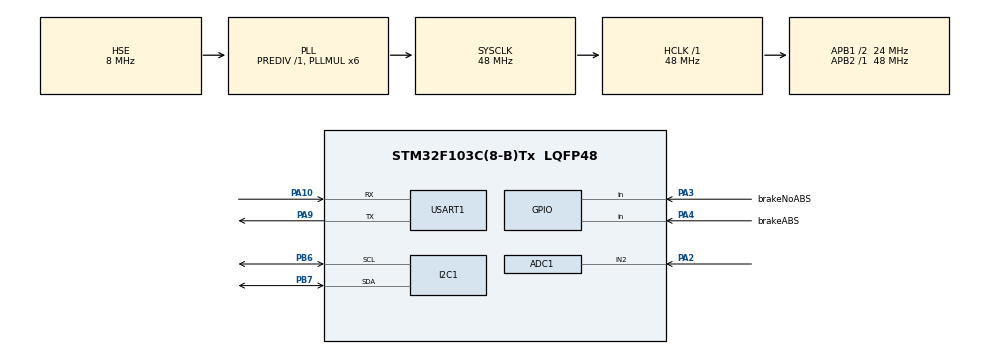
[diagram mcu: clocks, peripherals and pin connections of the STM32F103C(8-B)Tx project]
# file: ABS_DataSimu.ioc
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ADC1.Channel-0\#ChannelRegularConversion=ADC_CHANNEL_2
ADC1.NbrOfConversionFlag=1
ADC1.Rank-0\#ChannelRegularConversion=1
ADC1.SamplingTime-0\#ChannelRegularConversion=ADC_SAMPLETIME_1CYCLE_5
ADC1.master=1
Mcu.Family=STM32F1
Mcu.Name=STM32F103C(8-B)Tx
Mcu.Package=LQFP48
NVIC.PriorityGroup=NVIC_PRIORITYGROUP_4
NVIC.TIM1_UP_IRQn=true\:15\:0\:false\:false\:true\:false\:true\:true
NVIC.TimeBase=TIM1_UP_IRQn
NVIC.TimeBaseIP=TIM1
NVIC.USART1_IRQn=true\:0\:0\:false\:false\:true\:true\:true\:true
PA10.Mode=Asynchronous
PA10.Signal=USART1_RX
PA13.Mode=Serial_Wire
PA13.Signal=SYS_JTMS-SWDIO
PA14.Mode=Serial_Wire
PA14.Signal=SYS_JTCK-SWCLK
PA2.Signal=ADCx_IN2
PA3.GPIO_Label=brakeNoABS
PA3.Signal=GPIO_Input
PA4.GPIO_Label=brakeABS
PA4.Signal=GPIO_Input
PA9.Mode=Asynchronous
PA9.Signal=USART1_TX
PB6.Mode=I2C
PB6.Signal=I2C1_SCL
PB7.Mode=I2C
PB7.Signal=I2C1_SDA
PD0-OSC_IN.Mode=HSE-External-Oscillator
PD0-OSC_IN.Signal=RCC_OSC_IN
PD1-OSC_OUT.Mode=HSE-External-Oscillator
PD1-OSC_OUT.Signal=RCC_OSC_OUT
ProjectManager.HeapSize=0x200
ProjectManager.StackSize=0x400
ProjectManager.TargetToolchain=STM32CubeIDE
RCC.ADCPresc=RCC_ADCPCLK2_DIV4
RCC.AHBFreq_Value=48000000
RCC.APB1CLKDivider=RCC_HCLK_DIV2
RCC.APB1Freq_Value=24000000
RCC.APB1TimFreq_Value=48000000
RCC.APB2Freq_Value=48000000
RCC.APB2TimFreq_Value=48000000
RCC.HCLKFreq_Value=48000000
RCC.PLLMUL=RCC_PLL_MUL6
RCC.PLLSourceVirtual=RCC_PLLSOURCE_HSE
RCC.SYSCLKFreq_VALUE=48000000
RCC.SYSCLKSource=RCC_SYSCLKSOURCE_PLLCLK
RCC.USBFreq_Value=48000000
SH.ADCx_IN2.0=ADC1_IN2,IN2
USART1.VirtualMode=VM_ASYNC
VP_SYS_VS_tim1.Mode=TIM1
board=custom

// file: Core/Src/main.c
/* USER CODE BEGIN Header */
/**
 ******************************************************************************
 * @file           : main.c
 * @brief          : Main program body
 ******************************************************************************
 * @attention
 *
 * Copyright (c) 2023 STMicroelectronics.
 * All rights reserved.
 *
 * This software is licensed under terms that can be found in the LICENSE file
 * in the root directory of this software component.
 * If no LICENSE file comes with this software, it is provided AS-IS.
 *
 ******************************************************************************
 */
/* USER CODE END Header */
#include "main.h"

/* USER CODE BEGIN PD */
#define BRAKE_NO_ABS	255
#define BRAKE_ABS		0

/* USER CODE END PD */

ADC_HandleTypeDef hadc1;

I2C_HandleTypeDef hi2c1;

UART_HandleTypeDef huart1;

/* USER CODE BEGIN PV */
//char LCD_send[20];
/* USER CODE END PV */

void SystemClock_Config(void);
static void MX_GPIO_Init(void);
static void MX_USART1_UART_Init(void);
static void MX_ADC1_Init(void);
static void MX_I2C1_Init(void);

/* USER CODE BEGIN 0 */
uint16_t adcVal = 0;
uint8_t dutyCycle = 0; // assume dutyCycle as wheel speed

uint8_t isABSPress;
uint8_t isNoABSPress;

//void HAL_UART_TxCpltCallback(UART_HandleTypeDef *huart){
//
//}

/* USER CODE END 0 */

int main(void)
{

  /* MCU Configuration--------------------------------------------------------*/

  /* Reset of all peripherals, Initializes the Flash interface and the Systick. */
  HAL_Init();

  /* Configure the system clock */
  SystemClock_Config();

  /* Initialize all configured peripherals */
  MX_GPIO_Init();
  MX_USART1_UART_Init();
  MX_ADC1_Init();
  MX_I2C1_Init();
  /* USER CODE BEGIN 2 */

    	//CLCD_SetCursor(&LCD1, 0, 0);
    	//CLCD_WriteString(&LCD1, "Start ...");
  /* USER CODE END 2 */

  /* Infinite loop */
	while (1) {

    /* USER CODE BEGIN 3 */
		HAL_ADC_Start(&hadc1);
		HAL_ADC_PollForConversion(&hadc1, 100);
		adcVal = HAL_ADC_GetValue(&hadc1);
		HAL_ADC_Stop(&hadc1);

		dutyCycle = 100 * adcVal / 4095; // convert from 4095 (12 bit ADC resolution) to 0 - 100%
		// 100 because we set ARR = 100 (100-1 mean count from 0-> 99: 100 count value)

		/* Brake with ABS */
		isABSPress = HAL_GPIO_ReadPin(GPIOA, GPIO_PIN_4);
		isNoABSPress = HAL_GPIO_ReadPin(GPIOA, GPIO_PIN_3);

		if (isABSPress == 0){
			dutyCycle = BRAKE_ABS;

		}
		if (isNoABSPress == 0){
			dutyCycle = BRAKE_NO_ABS;
		}

		HAL_UART_Transmit(&huart1, &dutyCycle, 1, 2000);

	//		HAL_UART_Transmit_IT(&huart1, sendedData, 4);
	}
  /* USER CODE END 3 */
}

void SystemClock_Config(void)
{
  RCC_OscInitTypeDef RCC_OscInitStruct = {0};
  RCC_ClkInitTypeDef RCC_ClkInitStruct = {0};
  RCC_PeriphCLKInitTypeDef PeriphClkInit = {0};

  /** Initializes the RCC Oscillators according to the specified parameters
  * in the RCC_OscInitTypeDef structure.
  */
  RCC_OscInitStruct.OscillatorType = RCC_OSCILLATORTYPE_HSE;
  RCC_OscInitStruct.HSEState = RCC_HSE_ON;
  RCC_OscInitStruct.HSEPredivValue = RCC_HSE_PREDIV_DIV1;
  RCC_OscInitStruct.HSIState = RCC_HSI_ON;
  RCC_OscInitStruct.PLL.PLLState = RCC_PLL_ON;
  RCC_OscInitStruct.PLL.PLLSource = RCC_PLLSOURCE_HSE;
  RCC_OscInitStruct.PLL.PLLMUL = RCC_PLL_MUL6;
  if (HAL_RCC_OscConfig(&RCC_OscInitStruct) != HAL_OK)
  {
    Error_Handler();
  }

  /** Initializes the CPU, AHB and APB buses clocks
  */
  RCC_ClkInitStruct.ClockType = RCC_CLOCKTYPE_HCLK|RCC_CLOCKTYPE_SYSCLK
                              |RCC_CLOCKTYPE_PCLK1|RCC_CLOCKTYPE_PCLK2;
  RCC_ClkInitStruct.SYSCLKSource = RCC_SYSCLKSOURCE_PLLCLK;
  RCC_ClkInitStruct.AHBCLKDivider = RCC_SYSCLK_DIV1;
  RCC_ClkInitStruct.APB1CLKDivider = RCC_HCLK_DIV2;
  RCC_ClkInitStruct.APB2CLKDivider = RCC_HCLK_DIV1;

  if (HAL_RCC_ClockConfig(&RCC_ClkInitStruct, FLASH_LATENCY_1) != HAL_OK)
  {
    Error_Handler();
  }
  PeriphClkInit.PeriphClockSelection = RCC_PERIPHCLK_ADC;
  PeriphClkInit.AdcClockSelection = RCC_ADCPCLK2_DIV4;
  if (HAL_RCCEx_PeriphCLKConfig(&PeriphClkInit) != HAL_OK)
  {
    Error_Handler();
  }
}

static void MX_ADC1_Init(void)
{

  ADC_ChannelConfTypeDef sConfig = {0};

  /** Common config
  */
  hadc1.Instance = ADC1;
  hadc1.Init.ScanConvMode = ADC_SCAN_DISABLE;
  hadc1.Init.ContinuousConvMode = DISABLE;
  hadc1.Init.DiscontinuousConvMode = DISABLE;
  hadc1.Init.ExternalTrigConv = ADC_SOFTWARE_START;
  hadc1.Init.DataAlign = ADC_DATAALIGN_RIGHT;
  hadc1.Init.NbrOfConversion = 1;
  if (HAL_ADC_Init(&hadc1) != HAL_OK)
  {
    Error_Handler();
  }

  /** Configure Regular Channel
  */
  sConfig.Channel = ADC_CHANNEL_2;
  sConfig.Rank = ADC_REGULAR_RANK_1;
  sConfig.SamplingTime = ADC_SAMPLETIME_1CYCLE_5;
  if (HAL_ADC_ConfigChannel(&hadc1, &sConfig) != HAL_OK)
  {
    Error_Handler();
  }

}

static void MX_I2C1_Init(void)
{

  hi2c1.Instance = I2C1;
  hi2c1.Init.ClockSpeed = 100000;
  hi2c1.Init.DutyCycle = I2C_DUTYCYCLE_2;
  hi2c1.Init.OwnAddress1 = 0;
  hi2c1.Init.AddressingMode = I2C_ADDRESSINGMODE_7BIT;
  hi2c1.Init.DualAddressMode = I2C_DUALADDRESS_DISABLE;
  hi2c1.Init.OwnAddress2 = 0;
  hi2c1.Init.GeneralCallMode = I2C_GENERALCALL_DISABLE;
  hi2c1.Init.NoStretchMode = I2C_NOSTRETCH_DISABLE;
  if (HAL_I2C_Init(&hi2c1) != HAL_OK)
  {
    Error_Handler();
  }

}

static void MX_USART1_UART_Init(void)
{

  huart1.Instance = USART1;
  huart1.Init.BaudRate = 115200;
  huart1.Init.WordLength = UART_WORDLENGTH_8B;
  huart1.Init.StopBits = UART_STOPBITS_1;
  huart1.Init.Parity = UART_PARITY_NONE;
  huart1.Init.Mode = UART_MODE_TX_RX;
  huart1.Init.HwFlowCtl = UART_HWCONTROL_NONE;
  huart1.Init.OverSampling = UART_OVERSAMPLING_16;
  if (HAL_UART_Init(&huart1) != HAL_OK)
  {
    Error_Handler();
  }

}

static void MX_GPIO_Init(void)
{
  GPIO_InitTypeDef GPIO_InitStruct = {0};

  /* GPIO Ports Clock Enable */
  __HAL_RCC_GPIOD_CLK_ENABLE();
  __HAL_RCC_GPIOA_CLK_ENABLE();
  __HAL_RCC_GPIOB_CLK_ENABLE();

  /*Configure GPIO pins : brakeNoABS_Pin brakeABS_Pin */
  GPIO_InitStruct.Pin = brakeNoABS_Pin|brakeABS_Pin;
  GPIO_InitStruct.Mode = GPIO_MODE_INPUT;
  GPIO_InitStruct.Pull = GPIO_NOPULL;
  HAL_GPIO_Init(GPIOA, &GPIO_InitStruct);

}

void HAL_TIM_PeriodElapsedCallback(TIM_HandleTypeDef *htim)
{
  if (htim->Instance == TIM1) {
    HAL_IncTick();
  }
}

void Error_Handler(void)
{
	__disable_irq();
	while (1) {
	}
}
